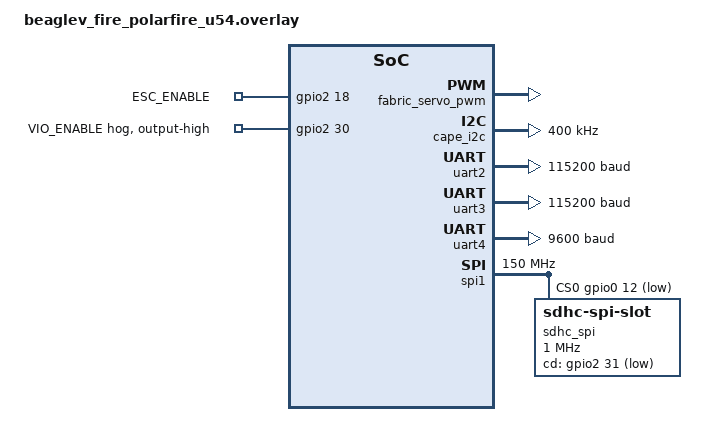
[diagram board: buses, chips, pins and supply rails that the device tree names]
/*
 * ArduPilot peripheral map for beaglev_fire/polarfire/u54.
 */

/ {
	chosen {
		/* shares wire with SERIAL0/MAVLink -- standalone board's normal wiring */
		zephyr,console = &uart2;
	};

	aliases {
		ardupilot-serial0 = &uart2;
		ardupilot-serial4 = &uart4;

		/* RCInput autodetects framing; SBUS is inverted and needs an external
		 * inverter since the MSS UART has no RX invert (iBUS is not). */
		ardupilot-rcinput = &uart3;

		ardupilot-gpio0 = &gpio0;
		ardupilot-gpio2 = &gpio2;

		ardupilot-i2c0 = &cape_i2c;

		ardupilot-spi1 = &spi1;

		ardupilot-pwm0 = &fabric_servo_pwm;

		ardupilot-esc-enable = &esc_enable_pin;

		sdhc0 = &sdhc_spi;
	};

	/* ROBOTICS cape fabric servo PWM, 8 ch in the FIC3 AXI window. */
	fabric_servo_pwm: servo-pwm@41000000 {
		compatible = "beaglev-fire,fabric-servo-pwm";
		reg = <0x41000000 0x20>;
		#pwm-cells = <2>;
		status = "okay";
	};

	/* fabric CoreI2C for IMU + baro (P9_19 SCL / P9_20 SDA), replacing MSS i2c0
	 * so the MSS AHB can stay at 150 MHz for USB; BCLK_DIV_8 gives ~390 kHz SCL. */
	cape_i2c: i2c@41600000 {
		compatible = "ardupilot,mpfs-corei2c";
		reg = <0x41600000 0x1000>;
		interrupt-parent = <&plic>;
		interrupts = <150 1>;        /* fabric F2M[32] -> PLIC 118+32 */
		clock-frequency = <400000>;  /* FAST -> BCLK_DIV_8 */
		#address-cells = <1>;
		#size-cells = <0>;
		status = "okay";
	};

	esc_enable_keys: esc-enable-keys {
		compatible = "gpio-keys";
		esc_enable_pin: esc_enable_pin {
			gpios = <&gpio2 18 GPIO_ACTIVE_HIGH>;
			label = "ESC_ENABLE";
		};
	};
};

/* retired: IMU/baro moved to cape_i2c */
&i2c0 {
	status = "disabled";
};

&i2c1 {
	status = "disabled";
};

&gpio0 {
	status = "okay";
	ngpios = <14>;
};

&gpio1 {
	/* unused by ArduPilot and no Linux to hand it to in standalone mode,
	 * so left enabled with default ngpios */
	status = "okay";
};

&gpio2 {
	status = "okay";
	ngpios = <32>;

	vio_enable: vio_enable {
		gpio-hog;
		gpios = <30 GPIO_ACTIVE_HIGH>;
		output-high;
		line-name = "VIO_ENABLE";
	};
};

&uart1 {
	status = "disabled";
};

/* MSS AHB is at its default 150 MHz (no divider shim), so clock-frequency
 * must match at 150 MHz for ns16550's baud latch calc. */
&uart2 {
	status = "okay";
	clock-frequency = <150000000>;
	current-speed = <115200>;
};

&uart3 {
	status = "okay";
	clock-frequency = <150000000>;
	current-speed = <115200>;
};

&uart4 {
	/* GPS, u-blox NEO-M8N; 9600 matches DEFAULT_SERIAL4_BAUD */
	status = "okay";
	clock-frequency = <150000000>;
	current-speed = <9600>;
};

&uart0 {
	status = "disabled";
};

&spi1 {
	/* ardupilot,mpfs-mss-spi, not upstream microchip,mpfs-spi: upstream has
	 * no GPIO CS handling, so cs-gpios below would be ignored. */
	compatible = "ardupilot,mpfs-mss-spi";
	status = "okay";
	clock-frequency = <150000000>;
	#address-cells = <1>;
	#size-cells = <0>;
	cs-gpios = <&gpio0 12 GPIO_ACTIVE_LOW>;

	sdhc_spi: sdhc@0 {
		compatible = "zephyr,sdhc-spi-slot";
		reg = <0>;
		status = "okay";
		/* 1 MHz is conservative; bump once mount is known-good */
		spi-max-frequency = <1000000>;
		cd-gpios = <&gpio2 31 GPIO_ACTIVE_LOW>;
		mmc {
			compatible = "zephyr,sdmmc-disk";
			disk-name = "SD";
			status = "okay";
		};
	};
};

/* Zephyr SRAM stays at the full 2 GiB ddr_cached_high window from
 * beaglev_fire_common.dtsi -- standalone FC owns all of DDR, so there's no
 * Linux reservation to bound the heap (the AMP variant shrinks this to
 * 128 MiB and adds the rpmsg/IHC nodes). */
